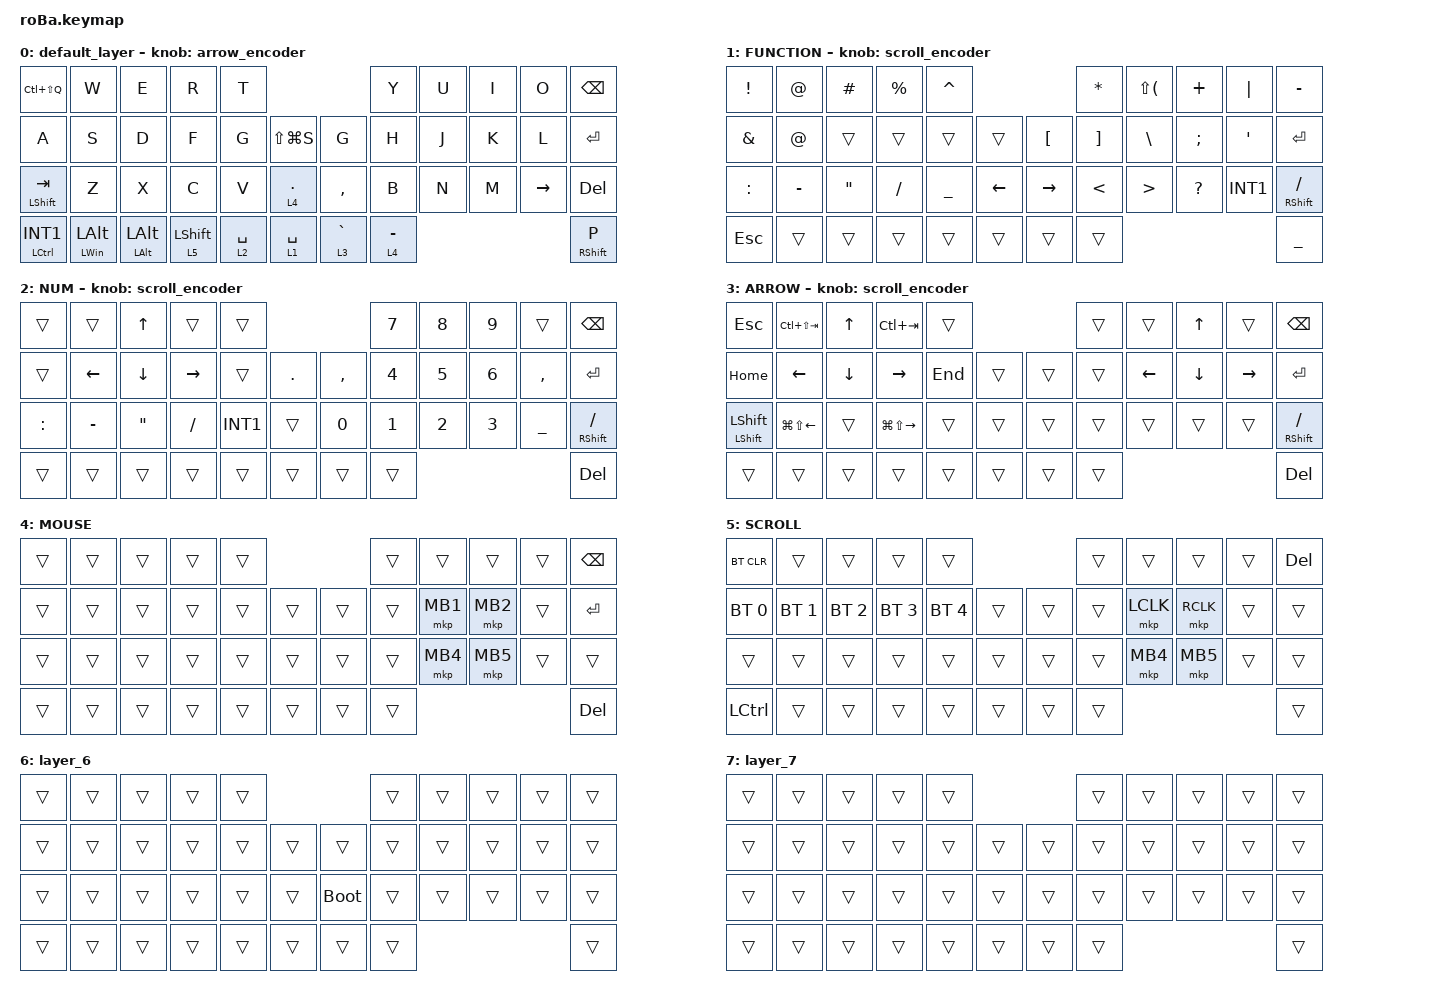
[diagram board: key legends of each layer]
#define ZMK_POINTING_DEFAULT_SCRL_VAL 100

#include <behaviors.dtsi>
#include <dt-bindings/zmk/bt.h>
#include <dt-bindings/zmk/keys.h>
#include <dt-bindings/zmk/pointing.h>

&mt {
    flavor = "balanced";
    quick-tap-ms = <0>;
};

&trackball {
    //automouse-layer = <4>;

    scroll-layers = <5>;

    // arrows {
    //     layers = <3>;
    //     bindings =
    //         <&kp RIGHT_ARROW>,
    //         <&kp LEFT_ARROW>,
    //         <&kp UP_ARROW>,
    //         <&kp DOWN_ARROW>;
    //     tick = <10>;
    //     wait-ms = <5>;
    //     tap-ms = <5>;
    // };
};

/ {
    combos {
        compatible = "zmk,combos";

        Left_Click {
            bindings = <&mkp LCLK>;
            key-positions = <18 17>;
        };

        Left2_Click {
            bindings = <&mkp LCLK>;
            key-positions = <19 18>;
        };

        Right_Click {
            bindings = <&mkp RCLK>;
            key-positions = <8 9>;
        };
    };

    macros {
        to_layer_0: to_layer_0 {
            compatible = "zmk,behavior-macro-one-param";
            #binding-cells = <1>;
            bindings = <&to 0 &macro_param_1to1 &kp MACRO_PLACEHOLDER>;
            label = "TO_LAYER_0";
        };
    };

    behaviors {
        scroll_encoder: scroll_encoder {
            compatible = "zmk,behavior-sensor-rotate";
            #sensor-binding-cells = <0>;
            bindings = <&msc SCRL_DOWN>, <&msc SCRL_UP>;

            tap-ms = <5>;
        };

        arrow_encoder: arrow_encoder {
            compatible = "zmk,behavior-sensor-rotate";
            #sensor-binding-cells = <0>;
            bindings = <&kp UP_ARROW>, <&kp DOWN_ARROW>;

            tap-ms = <1>;  // ★ここを「1」にすることで、絶対に長押し（リピート）させない
        };

        lt_to_layer_0: lt_to_layer_0 {
            compatible = "zmk,behavior-hold-tap";
            label = "LAYER_TAP_TO_0";
            bindings = <&mo>, <&to_layer_0>;

            #binding-cells = <2>;
            tapping-term-ms = <200>;
        };
    };

    keymap {
        compatible = "zmk,keymap";

        default_layer {
            bindings = <
&kp LC(LS(Q))          &kp W                  &kp E                  &kp R             &kp T                                        &kp Y        &kp U  &kp I  &kp O            &kp BACKSPACE
&kp A                  &kp S                  &kp D                  &kp F             &kp G        &kp LS(LG(S))      &kp G        &kp H        &kp J  &kp K  &kp L            &kp ENTER
&mt LEFT_SHIFT TAB     &kp Z                  &kp X                  &kp C             &kp V        &lt 4 PERIOD       &kp COMMA    &kp B        &kp N  &kp M  &kp RIGHT_ARROW  &kp DEL
&mt LEFT_CONTROL INT1  &mt LEFT_WIN LEFT_ALT  &mt LEFT_ALT LEFT_ALT  &lt 5 LEFT_SHIFT  &lt 2 SPACE  &lt 1 SPACE        &lt 3 GRAVE  &lt 4 MINUS                                 &mt RIGHT_SHIFT P
            >;

            sensor-bindings = <&arrow_encoder>;
        };

        FUNCTION {
            bindings = <
&kp EXCLAMATION  &kp AT     &kp HASH           &kp PERCENT  &kp CARET                                             &kp ASTRK          &kp LS(LEFT_PARENTHESIS)  &kp PLUS       &kp PIPE          &kp MINUS
&kp AMPERSAND    &kp AT     &trans             &trans       &trans          &trans              &kp LEFT_BRACKET  &kp RIGHT_BRACKET  &kp BACKSLASH             &kp SEMICOLON  &kp SINGLE_QUOTE  &kp ENTER
&kp COLON        &kp MINUS  &kp DOUBLE_QUOTES  &kp SLASH    &kp UNDERSCORE  &kp LEFT_ARROW      &kp RIGHT_ARROW   &kp LESS_THAN      &kp GREATER_THAN          &kp QUESTION   &kp INT1          &mt RIGHT_SHIFT SLASH
&kp ESCAPE       &trans     &trans             &trans       &trans          &trans              &trans            &trans                                                                        &kp UNDER
            >;

            sensor-bindings = <&scroll_encoder>;
        };

        NUM {
            bindings = <
&trans     &trans     &kp UP_ARROW       &trans     &trans                               &kp N7        &kp N8        &kp N9        &trans          &kp BACKSPACE
&trans     &kp LEFT   &kp DOWN_ARROW     &kp RIGHT  &trans    &kp PERIOD      &kp COMMA  &kp NUMBER_4  &kp N5        &kp NUMBER_6  &kp COMMA       &kp ENTER
&kp COLON  &kp MINUS  &kp DOUBLE_QUOTES  &kp SLASH  &kp INT1  &trans          &kp N0     &kp NUMBER_1  &kp NUMBER_2  &kp NUMBER_3  &kp UNDERSCORE  &mt RIGHT_SHIFT SLASH
&trans     &trans     &trans             &trans     &trans    &trans          &trans     &trans                                                    &kp DELETE
            >;

            sensor-bindings = <&scroll_encoder>;
        };

        ARROW {
            bindings = <
&kp ESCAPE                 &kp LC(LS(TAB))         &kp UP_ARROW    &kp LC(TAB)              &trans                       &trans  &trans          &kp UP_ARROW    &trans           &kp BACKSPACE
&kp HOME                   &kp LEFT_ARROW          &kp DOWN_ARROW  &kp RIGHT_ARROW          &kp END  &trans      &trans  &trans  &kp LEFT_ARROW  &kp DOWN_ARROW  &kp RIGHT_ARROW  &kp ENTER
&mt LEFT_SHIFT LEFT_SHIFT  &kp LG(LS(LEFT_ARROW))  &trans          &kp LG(LS(RIGHT_ARROW))  &trans   &trans      &trans  &trans  &trans          &trans          &trans           &mt RIGHT_SHIFT SLASH
&trans                     &trans                  &trans          &trans                   &trans   &trans      &trans  &trans                                                   &kp DELETE
            >;

            sensor-bindings = <&scroll_encoder>;
        };

        MOUSE {
            bindings = <
&trans  &trans  &trans  &trans  &trans                      &trans  &trans    &trans    &trans  &kp BACKSPACE
&trans  &trans  &trans  &trans  &trans  &trans      &trans  &trans  &mkp MB1  &mkp MB2  &trans  &kp ENTER
&trans  &trans  &trans  &trans  &trans  &trans      &trans  &trans  &mkp MB4  &mkp MB5  &trans  &trans
&trans  &trans  &trans  &trans  &trans  &trans      &trans  &trans                              &kp DELETE
            >;
        };

        SCROLL {
            bindings = <
&bt BT_CLR        &trans        &trans        &trans        &trans                            &trans  &trans     &trans     &trans  &kp DEL
&bt BT_SEL 0      &bt BT_SEL 1  &bt BT_SEL 2  &bt BT_SEL 3  &bt BT_SEL 4  &trans      &trans  &trans  &mkp LCLK  &mkp RCLK  &trans  &trans
&trans            &trans        &trans        &trans        &trans        &trans      &trans  &trans  &mkp MB4   &mkp MB5   &trans  &trans
&kp LEFT_CONTROL  &trans        &trans        &trans        &trans        &trans      &trans  &trans                                &trans
            >;
        };

        layer_6 {
            bindings = <
&trans  &trans  &trans  &trans  &trans                           &trans  &trans  &trans  &trans  &trans
&trans  &trans  &trans  &trans  &trans  &trans      &trans       &trans  &trans  &trans  &trans  &trans
&trans  &trans  &trans  &trans  &trans  &trans      &bootloader  &trans  &trans  &trans  &trans  &trans
&trans  &trans  &trans  &trans  &trans  &trans      &trans       &trans                          &trans
            >;
        };

        layer_7 {
            bindings = <
&trans  &trans  &trans  &trans  &trans                      &trans  &trans  &trans  &trans  &trans
&trans  &trans  &trans  &trans  &trans  &trans      &trans  &trans  &trans  &trans  &trans  &trans
&trans  &trans  &trans  &trans  &trans  &trans      &trans  &trans  &trans  &trans  &trans  &trans
&trans  &trans  &trans  &trans  &trans  &trans      &trans  &trans                          &trans
            >;
        };
    };
};
